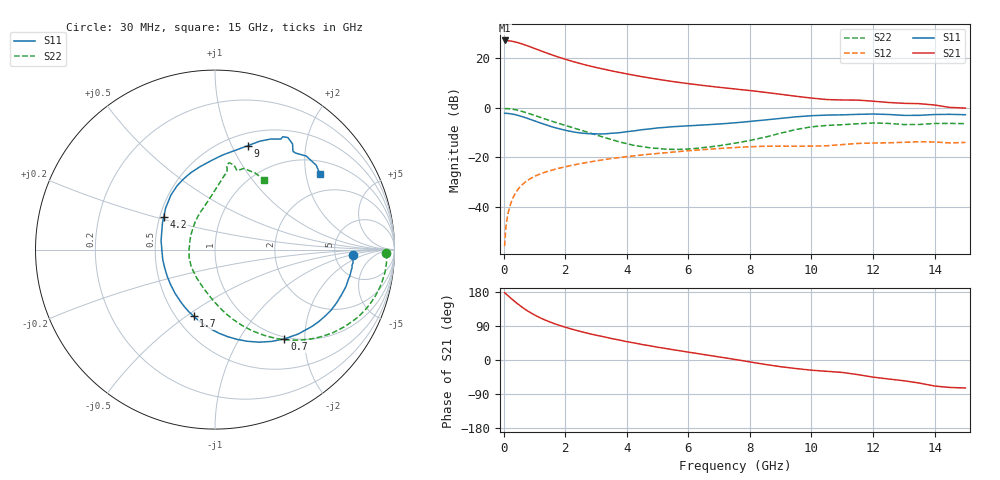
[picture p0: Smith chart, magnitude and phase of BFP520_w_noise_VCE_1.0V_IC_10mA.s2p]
! Infineon Technologies  Discrete & RF Semiconductors
! BFP520
! VCE =  1.0 V,  IC =  10 mA
! Common Emitter S-Parameters:  Oct 2015
# GHz  S  MA  R  50
!  f  S11  S21  S12  S22
! GHz  MAG  ANG  MAG  ANG  MAG  ANG  MAG  ANG
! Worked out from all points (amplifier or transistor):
!   109 points, 30 MHz to 15 GHz, reference 50 ohm
!   highest |S21| = 27.1 dB at 30 MHz (marker M1)
!   |S21| within 3 dB of that: start of sweep to 954.5 MHz
!   unconditionally stable (mu >= 1): 3.292 GHz to end of sweep
!   at 450 MHz: K = 0.23, MSG = 29.8 dB, |S12| = -33.2 dB
!   at 4 GHz: K = 1.08, MAG = 15.0 dB, |S12| = -19.7 dB
!   at 15 GHz: K = 1.31, MAG = 3.6 dB, |S12| = -14.0 dB
!   lowest NFmin = 1.53 dB at 900 MHz
!   S11 on the Smith chart (normalised r, x): 30 MHz: 7.56, -1.16; 700 MHz: 0.97, -1.60; 1.7 GHz: 0.61, -0.53; 4.2 GHz: 0.53, +0.22; 9 GHz: 0.63, +1.16; 15 GHz: 1.37, +2.40
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0.03  0.7712 -2.3  22.77 177.8  0.0016 88.6  0.9536 -1.2
0.07  0.7723 -5.6  22.76 174.5  0.0037 86.9  0.9576 -3.4
0.2  0.7578 -15.9  22.31 165.4  0.0101 82.8  0.9483 -10.8
0.35  0.7297 -27.5  21.43 155.0  0.0173 77.1  0.9176 -18.8
0.5  0.6893 -38.4  20.21 145.4  0.0239 72.1  0.8736 -26.3
0.6  0.6608 -45.3  19.35 139.3  0.0279 69.2  0.8396 -30.8
0.7  0.6303 -52.1  18.42 133.6  0.0315 66.5  0.8042 -35.1
0.9  0.5709 -64.6  16.6 123.6  0.038 62.0  0.7333 -42.7
1.2  0.4899 -81.8  14.11 110.8  0.0463 56.8  0.6344 -52.3
1.4  0.4452 -92.4  12.69 103.7  0.0511 54.2  0.5762 -57.7
1.7  0.3898 -107.8  10.92 94.4  0.0578 51.0  0.5019 -64.9
2.2  0.3301 -132.3  8.733 81.7  0.0683 46.7  0.4023 -75.4
2.6  0.3045 -151.3  7.464 73.1  0.0763 43.6  0.3377 -83.5
3.5  0.3045 170.6  5.547 56.6  0.094 36.3  0.2274 -105.7
4.2  0.3385 147.6  4.567 45.6  0.1062 30.4  0.1756 -130.5
5.1  0.3941 127.4  3.67 32.5  0.1206 23.2  0.1484 -166.7
6  0.4307 114.0  3.057 20.7  0.1351 16.0  0.1468 163.1
7.6  0.5009 91.2  2.356 0.4  0.158 1.9  0.1962 122.2
9  0.6086 72.3  1.863 -17.7  0.1675 -12.0  0.3061 93.0
10.5  0.7094 60.3  1.459 -29.9  0.1704 -20.0  0.4378 81.2
13  0.6991 51.6  1.225 -54.7  0.2001 -40.2  0.4564 74.4
15  0.721 35.9  0.982 -73.8  0.1989 -56.1  0.476 55.0
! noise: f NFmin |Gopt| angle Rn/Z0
0.45  1.55  0.27  1  0.29
0.9  1.53  0.25  5  0.31
1.9  1.71  0.23  12  0.27
2.4  1.73  0.19  24  0.27
3.5  1.66  0.17  46  0.26
